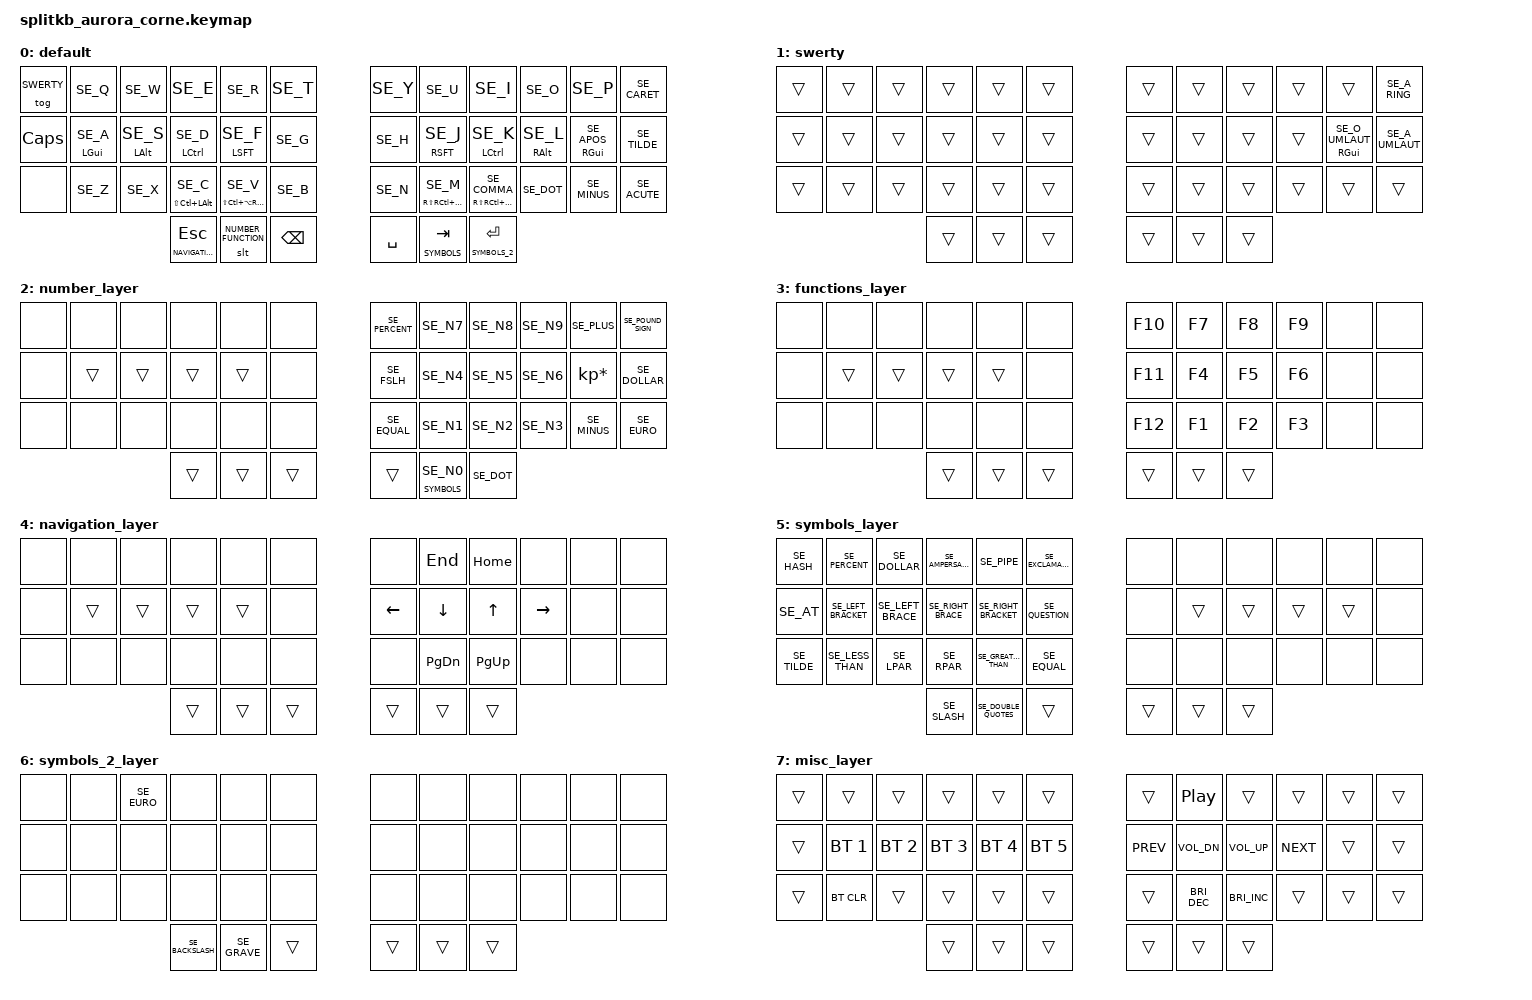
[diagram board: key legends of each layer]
/*&bt BT_SEL 1
 * Copyright (c) 2020 The ZMK Contributors
 *
 * SPDX-License-Identifier: MIT
 */

#include <behaviors.dtsi>
#include <dt-bindings/zmk/keys.h>
#include "keys_se.h"
#include <dt-bindings/zmk/bt.h>

#include "zmk-helpers/helper.h"
#include "zmk-helpers/key-labels/42.h"
#include "zmk-helpers/unicode-chars/swedish.dtsi"

#define DEFAULT 0
#define SWERTY 1
#define NUMBER 2
#define FUNCTION 3
#define NAVIGATION 4
#define SYMBOLS 5
#define SYMBOLS_2 6
#define MISC 7

ZMK_CONDITIONAL_LAYER(misc_layer, NUMBER SYMBOLS, MISC)

#define KEYS_L LT0 LT1 LT2 LT3 LT4 LT5 LM0 LM1 LM2 LM3 LM4 LM5 LB0 LB1 LB2 LB3 LB4 LB5  // left-hand keys
#define KEYS_R RT0 RT1 RT2 RT3 RT4 RT5 RM0 RM1 RM2 RM3 RM4 RM5 RB0 RB1 RB2 RB3 RB4 RB5  // right-hand keys
#define THUMBS LH0 LH1 LH2 RH0 RH1 RH2

#define RHYPER RS(RC(RA(LGUI)))
#define LHYPER LS(LC(LA(RGUI)))
#define RMEH RS(RC(RALT))
#define LMEH LS(LC(LALT))

/* left-hand HRMs */
ZMK_BEHAVIOR(hml, hold_tap,
    flavor = "balanced";
    tapping-term-ms = <280>;
    quick-tap-ms = <175>;                // repeat on tap-into-hold
    require-prior-idle-ms = <150>;
    bindings = <&kp>, <&kp>;
    hold-trigger-key-positions = <KEYS_R THUMBS>;
    hold-trigger-on-release;             // delay positional check until key-release
)

/* right-hand HRMs */
ZMK_BEHAVIOR(hmr, hold_tap,
    flavor = "balanced";
    tapping-term-ms = <280>;
    quick-tap-ms = <175>;                // repeat on tap-into-hold
    require-prior-idle-ms = <150>;
    bindings = <&kp>, <&kp>;
    hold-trigger-key-positions = <KEYS_L THUMBS>;
    hold-trigger-on-release;             // delay positional check until key-release
)

/* trigger sticky layer on tap, hold layer on hold */
ZMK_BEHAVIOR(slt, hold_tap,
    flavor = "balanced";
    tapping-term-ms = <280>;
    quick-tap-ms = <175>;                // repeat on tap-into-hold
    require-prior-idle-ms = <150>;
    bindings = <&mo>, <&sl>;
    hold-trigger-key-positions = <KEYS_R THUMBS>;
    hold-trigger-on-release;             // delay positional check until key-release
)

ZMK_LAYER(default,
// ╭─────────────────────────┬─────────────────────────┬─────────────────────────┬─────────────────────────┬─────────────────────────┬───────────────────────╮   ╭─────────────────────────┬─────────────────────────┬─────────────────────────┬─────────────────────────┬─────────────────────────┬───────────────────────╮
      &tog SWERTY               &kp SE_Q                  &kp SE_W                  &kp SE_E                  &kp SE_R                  &kp SE_T                    &kp SE_Y                  &kp SE_U                  &kp SE_I                  &kp SE_O                  &kp SE_P                  &kp SE_CARET
// ├─────────────────────────┼─────────────────────────┼─────────────────────────┼─────────────────────────┼─────────────────────────┼───────────────────────┤   ├─────────────────────────┼─────────────────────────┼─────────────────────────┼─────────────────────────┼─────────────────────────┼───────────────────────┤
      &kp CAPSLOCK              &hml LGUI SE_A            &hml LALT SE_S            &hml LCTL SE_D            &hml LSFT SE_F            &kp SE_G                    &kp SE_H                  &hmr RSFT SE_J            &hmr LCTL SE_K            &hmr RALT SE_L            &hmr RGUI SE_APOS         &kp SE_TILDE 
// ├─────────────────────────┼─────────────────────────┼─────────────────────────┼─────────────────────────┼─────────────────────────┼───────────────────────┤   ├─────────────────────────┼─────────────────────────┼─────────────────────────┼─────────────────────────┼─────────────────────────┼───────────────────────┤
      &none                     &kp SE_Z                  &kp SE_X                  &hml LMEH SE_C            &hml LHYPER SE_V          &kp SE_B                    &kp SE_N                  &hmr RHYPER SE_M          &hmr RMEH SE_COMMA        &kp SE_DOT                &kp SE_MINUS              &kp SE_ACUTE 
// ╰─────────────────────────┴─────────────────────────┴─────────────────────────┼─────────────────────────┼─────────────────────────┼───────────────────────╮   ╭─────────────────────────┼─────────────────────────┼─────────────────────────┼─────────────────────────┴─────────────────────────┴───────────────────────╯
                                                                                    &lt NAVIGATION ESC        &slt NUMBER FUNCTION      &kp BSPC                    &kp SPACE                 &lt SYMBOLS TAB           &lt SYMBOLS_2 ENTER              
//                                                                               ╰─────────────────────────┴─────────────────────────┴───────────────────────╯   ╰─────────────────────────┴─────────────────────────┴─────────────────────────╯
)

ZMK_LAYER(swerty,
// ╭─────────────────────────┬─────────────────────────┬─────────────────────────┬─────────────────────────┬─────────────────────────┬───────────────────────╮   ╭─────────────────────────┬─────────────────────────┬─────────────────────────┬─────────────────────────┬─────────────────────────┬───────────────────────╮
      &trans                    &trans                    &trans                    &trans                    &trans                    &trans                      &trans                    &trans                    &trans                    &trans                    &trans                    &kp SE_A_RING
// ├─────────────────────────┼─────────────────────────┼─────────────────────────┼─────────────────────────┼─────────────────────────┼───────────────────────┤   ├─────────────────────────┼─────────────────────────┼─────────────────────────┼─────────────────────────┼─────────────────────────┼───────────────────────┤
      &trans                    &trans                    &trans                    &trans                    &trans                    &trans                      &trans                    &trans                    &trans                    &trans                    &hmr RGUI SE_O_UMLAUT     &kp SE_A_UMLAUT
// ├─────────────────────────┼─────────────────────────┼─────────────────────────┼─────────────────────────┼─────────────────────────┼───────────────────────┤   ├─────────────────────────┼─────────────────────────┼─────────────────────────┼─────────────────────────┼─────────────────────────┼───────────────────────┤
      &trans                    &trans                    &trans                    &trans                    &trans                    &trans                      &trans                    &trans                    &trans                    &trans                    &trans                    &trans
// ╰─────────────────────────┴─────────────────────────┴─────────────────────────┼─────────────────────────┼─────────────────────────┼───────────────────────╮   ╭─────────────────────────┼─────────────────────────┼─────────────────────────┼─────────────────────────┴─────────────────────────┴───────────────────────╯
                                                                                    &trans                    &trans                    &trans                      &trans                    &trans                    &trans
//                                                                               ╰─────────────────────────┴─────────────────────────┴───────────────────────╯   ╰─────────────────────────┴─────────────────────────┴─────────────────────────╯
)

ZMK_LAYER(number_layer,
// ╭─────────────────────────┬─────────────────────────┬─────────────────────────┬─────────────────────────┬─────────────────────────┬───────────────────────╮   ╭─────────────────────────┬─────────────────────────┬─────────────────────────┬─────────────────────────┬─────────────────────────┬───────────────────────╮
      &none                    &none                      &none                     &none                     &none                     &none                       &kp SE_PERCENT            &kp SE_N7                 &kp SE_N8                 &kp SE_N9                 &kp SE_PLUS               &kp SE_POUND_SIGN
// ├─────────────────────────┼─────────────────────────┼─────────────────────────┼─────────────────────────┼─────────────────────────┼───────────────────────┤   ├─────────────────────────┼─────────────────────────┼─────────────────────────┼─────────────────────────┼─────────────────────────┼───────────────────────┤
      &none                    &trans                     &trans                    &trans                    &trans                    &none                       &kp SE_FSLH               &kp SE_N4                 &kp SE_N5                 &kp SE_N6                 &kp KP_MULTIPLY           &kp SE_DOLLAR 
// ├─────────────────────────┼─────────────────────────┼─────────────────────────┼─────────────────────────┼─────────────────────────┼───────────────────────┤   ├─────────────────────────┼─────────────────────────┼─────────────────────────┼─────────────────────────┼─────────────────────────┼───────────────────────┤
      &none                    &none                      &none                     &none                     &none                     &none                       &kp SE_EQUAL              &kp SE_N1                 &kp SE_N2                 &kp SE_N3                 &kp SE_MINUS              &kp SE_EURO
// ╰─────────────────────────┴─────────────────────────┴─────────────────────────┼─────────────────────────┼─────────────────────────┼───────────────────────╮   ╭─────────────────────────┼─────────────────────────┼─────────────────────────┼─────────────────────────┴─────────────────────────┴───────────────────────╯
                                                                                    &trans                    &trans                    &trans                      &trans                    &lt SYMBOLS SE_N0         &kp SE_DOT               
//                                                                               ╰─────────────────────────┴─────────────────────────┴───────────────────────╯   ╰─────────────────────────┴─────────────────────────┴─────────────────────────╯
)

ZMK_LAYER(functions_layer,
// ╭─────────────────────────┬─────────────────────────┬─────────────────────────┬─────────────────────────┬─────────────────────────┬───────────────────────╮   ╭─────────────────────────┬─────────────────────────┬─────────────────────────┬─────────────────────────┬─────────────────────────┬───────────────────────╮
      &none                    &none                      &none                     &none                     &none                     &none                       &kp F10                   &kp F7                    &kp F8                    &kp F9                    &none                     &none
// ├─────────────────────────┼─────────────────────────┼─────────────────────────┼─────────────────────────┼─────────────────────────┼───────────────────────┤   ├─────────────────────────┼─────────────────────────┼─────────────────────────┼─────────────────────────┼─────────────────────────┼───────────────────────┤
      &none                    &trans                     &trans                    &trans                    &trans                    &none                       &kp F11                   &kp F4                    &kp F5                    &kp F6                    &none                     &none 
// ├─────────────────────────┼─────────────────────────┼─────────────────────────┼─────────────────────────┼─────────────────────────┼───────────────────────┤   ├─────────────────────────┼─────────────────────────┼─────────────────────────┼─────────────────────────┼─────────────────────────┼───────────────────────┤
      &none                    &none                      &none                     &none                     &none                     &none                       &kp F12                   &kp F1                    &kp F2                    &kp F3                    &none                     &none
// ╰─────────────────────────┴─────────────────────────┴─────────────────────────┼─────────────────────────┼─────────────────────────┼───────────────────────╮   ╭─────────────────────────┼─────────────────────────┼─────────────────────────┼─────────────────────────┴─────────────────────────┴───────────────────────╯
                                                                                    &trans                    &trans                    &trans                      &trans                    &trans                    &trans
//                                                                               ╰─────────────────────────┴─────────────────────────┴───────────────────────╯   ╰─────────────────────────┴─────────────────────────┴─────────────────────────╯
)

ZMK_LAYER(navigation_layer,
// ╭─────────────────────────┬─────────────────────────┬─────────────────────────┬─────────────────────────┬─────────────────────────┬───────────────────────╮   ╭─────────────────────────┬─────────────────────────┬─────────────────────────┬─────────────────────────┬─────────────────────────┬───────────────────────╮
      &none                    &none                      &none                     &none                     &none                     &none                       &none                     &kp END                   &kp HOME                  &none                     &none                     &none                 
// ├─────────────────────────┼─────────────────────────┼─────────────────────────┼─────────────────────────┼─────────────────────────┼───────────────────────┤   ├─────────────────────────┼─────────────────────────┼─────────────────────────┼─────────────────────────┼─────────────────────────┼───────────────────────┤
      &none                    &trans                     &trans                    &trans                    &trans                    &none                       &kp LEFT                  &kp DOWN                  &kp UP                    &kp RIGHT                 &none                     &none                 
// ├─────────────────────────┼─────────────────────────┼─────────────────────────┼─────────────────────────┼─────────────────────────┼───────────────────────┤   ├─────────────────────────┼─────────────────────────┼─────────────────────────┼─────────────────────────┼─────────────────────────┼───────────────────────┤
      &none                    &none                      &none                     &none                     &none                     &none                       &none                     &kp PAGE_DOWN             &kp PAGE_UP               &none                     &none                     &none                 
// ╰─────────────────────────┴─────────────────────────┴─────────────────────────┼─────────────────────────┼─────────────────────────┼───────────────────────╮   ╭─────────────────────────┼─────────────────────────┼─────────────────────────┼─────────────────────────┴─────────────────────────┴───────────────────────╯
                                                                                    &trans                    &trans                    &trans                      &trans                    &trans                    &trans                  
//                                                                               ╰─────────────────────────┴─────────────────────────┴───────────────────────╯   ╰─────────────────────────┴─────────────────────────┴─────────────────────────╯
)

ZMK_LAYER(symbols_layer,
// ╭─────────────────────────┬─────────────────────────┬─────────────────────────┬─────────────────────────┬─────────────────────────┬───────────────────────╮   ╭─────────────────────────┬─────────────────────────┬─────────────────────────┬─────────────────────────┬─────────────────────────┬───────────────────────╮
      &kp SE_HASH               &kp SE_PERCENT            &kp SE_DOLLAR             &kp SE_AMPERSAND          &kp SE_PIPE               &kp SE_EXCLAMATION          &none                     &none                     &none                     &none                     &none                     &none 
// ├─────────────────────────┼─────────────────────────┼─────────────────────────┼─────────────────────────┼─────────────────────────┼───────────────────────┤   ├─────────────────────────┼─────────────────────────┼─────────────────────────┼─────────────────────────┼─────────────────────────┼───────────────────────┤
      &kp SE_AT                 &kp SE_LEFT_BRACKET       &kp SE_LEFT_BRACE         &kp SE_RIGHT_BRACE        &kp SE_RIGHT_BRACKET      &kp SE_QUESTION             &none                     &trans                    &trans                    &trans                    &trans                    &none                 
// ├─────────────────────────┼─────────────────────────┼─────────────────────────┼─────────────────────────┼─────────────────────────┼───────────────────────┤   ├─────────────────────────┼─────────────────────────┼─────────────────────────┼─────────────────────────┼─────────────────────────┼───────────────────────┤
      &kp SE_TILDE              &kp SE_LESS_THAN          &kp SE_LPAR               &kp SE_RPAR               &kp SE_GREATER_THAN       &kp SE_EQUAL                &none                     &none                     &none                     &none                     &none                     &none                 
// ╰─────────────────────────┴─────────────────────────┴─────────────────────────┼─────────────────────────┼─────────────────────────┼───────────────────────╮   ╭─────────────────────────┼─────────────────────────┼─────────────────────────┼─────────────────────────┴─────────────────────────┴───────────────────────╯
                                                                                    &kp SE_SLASH              &kp SE_DOUBLE_QUOTES      &trans                      &trans                    &trans                    &trans                  
//                                                                               ╰─────────────────────────┴─────────────────────────┴───────────────────────╯   ╰─────────────────────────┴─────────────────────────┴─────────────────────────╯
)

ZMK_LAYER(symbols_2_layer,
// ╭─────────────────────────┬─────────────────────────┬─────────────────────────┬─────────────────────────┬─────────────────────────┬───────────────────────╮   ╭─────────────────────────┬─────────────────────────┬─────────────────────────┬─────────────────────────┬─────────────────────────┬───────────────────────╮
      &none                    &none                      &kp SE_EURO               &none                     &none                     &none                       &none                     &none                     &none                     &none                     &none                     &none 
// ├─────────────────────────┼─────────────────────────┼─────────────────────────┼─────────────────────────┼─────────────────────────┼───────────────────────┤   ├─────────────────────────┼─────────────────────────┼─────────────────────────┼─────────────────────────┼─────────────────────────┼───────────────────────┤
      &none                    &none                      &none                     &none                     &none                     &none                       &none                     &none                     &none                     &none                     &none                     &none 
// ├─────────────────────────┼─────────────────────────┼─────────────────────────┼─────────────────────────┼─────────────────────────┼───────────────────────┤   ├─────────────────────────┼─────────────────────────┼─────────────────────────┼─────────────────────────┼─────────────────────────┼───────────────────────┤
      &none                    &none                      &none                     &none                     &none                     &none                       &none                     &none                     &none                     &none                     &none                     &none 
// ╰─────────────────────────┴─────────────────────────┴─────────────────────────┼─────────────────────────┼─────────────────────────┼───────────────────────╮   ╭─────────────────────────┼─────────────────────────┼─────────────────────────┼─────────────────────────┴─────────────────────────┴───────────────────────╯
                                                                                    &kp SE_BACKSLASH          &kp SE_GRAVE              &trans                      &trans                    &trans                    &trans                  
//                                                                               ╰─────────────────────────┴─────────────────────────┴───────────────────────╯   ╰─────────────────────────┴─────────────────────────┴─────────────────────────╯
)

ZMK_LAYER(misc_layer,
// ╭─────────────────────────┬─────────────────────────┬─────────────────────────┬─────────────────────────┬─────────────────────────┬───────────────────────╮   ╭─────────────────────────┬─────────────────────────┬─────────────────────────┬─────────────────────────┬─────────────────────────┬───────────────────────╮
      &trans                    &trans                    &trans                    &trans                    &trans                    &trans                      &trans                    &kp C_PP                  &trans                    &trans                    &trans                    &trans                
// ├─────────────────────────┼─────────────────────────┼─────────────────────────┼─────────────────────────┼─────────────────────────┼───────────────────────┤   ├─────────────────────────┼─────────────────────────┼─────────────────────────┼─────────────────────────┼─────────────────────────┼───────────────────────┤
      &trans                    &bt BT_SEL 1              &bt BT_SEL 2              &bt BT_SEL 3              &bt BT_SEL 4              &bt BT_SEL 5                &kp C_PREV                &kp C_VOL_DN              &kp C_VOL_UP              &kp C_NEXT                &trans                    &trans                
// ├─────────────────────────┼─────────────────────────┼─────────────────────────┼─────────────────────────┼─────────────────────────┼───────────────────────┤   ├─────────────────────────┼─────────────────────────┼─────────────────────────┼─────────────────────────┼─────────────────────────┼───────────────────────┤
      &trans                    &bt BT_CLR                &trans                    &trans                    &trans                    &trans                      &trans                    &kp C_BRIGHTNESS_DEC      &kp C_BRIGHTNESS_INC      &trans                    &trans                    &trans                
// ╰─────────────────────────┴─────────────────────────┴─────────────────────────┼─────────────────────────┼─────────────────────────┼───────────────────────╮   ╭─────────────────────────┼─────────────────────────┼─────────────────────────┼─────────────────────────┴─────────────────────────┴───────────────────────╯
                                                                                    &trans                    &trans                    &trans                      &trans                    &trans                    &trans               
//                                                                               ╰─────────────────────────┴─────────────────────────┴───────────────────────╯   ╰─────────────────────────┴─────────────────────────┴─────────────────────────╯
)

